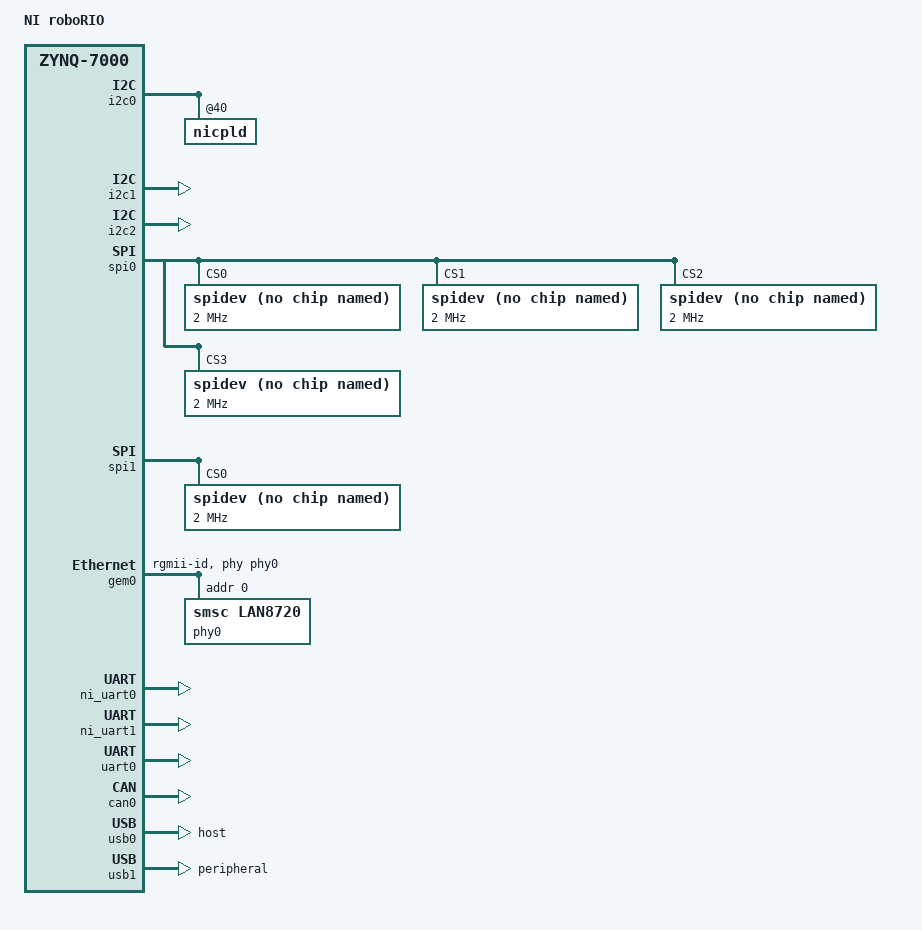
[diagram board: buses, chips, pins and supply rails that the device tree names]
/dts-v1/;
/include/ "ni-zynq.dtsi"

/* NIDEVCODE 76F2 */

/ {
	model = "NI roboRIO";
	compatible = "ni,zynq", "xlnx,zynq-7000";

	aliases {
		spi0 = &spi0;
		spi1 = &spi1;
	};

	amba@0 {
		adc: adc@f8007100 {
			xlnx,channels {
				#address-cells = <1>;
				#size-cells = <0>;
				/* Channel 0 maps to VPVN */
				channel@0 {
					reg = <0>;
					xlnx,extend-name = "vin_v";
				};
				/* Channel 1 maps to VAUX0 */
				channel@1 {
					reg = <1>;
					xlnx,extend-name = "vin_c";
				};
				/* Channel 2 maps to VAUX1 */
				channel@2 {
					reg = <2>;
					xlnx,extend-name = "user5v_v";
				};
				/* Channel 3 maps to VAUX2 */
				channel@3 {
					reg = <3>;
					xlnx,extend-name = "user5v_c";
				};
				/* Channel 4 maps to VAUX3 */
				channel@4 {
					reg = <4>;
					xlnx,extend-name = "user3v3_v";
				};
				/* Channel 5 maps to VAUX4 */
				channel@5 {
					reg = <5>;
					xlnx,extend-name = "user3v3_c";
				};
				/* Channel 9 maps to VAUX8 */
				channel@9 {
					reg = <9>;
					xlnx,extend-name = "user6v_c";
				};
				/* Channel 10 maps to VAUX9 */
				channel@10 {
					reg = <10>;
					xlnx,extend-name = "bist_ao_v";
				};
				/* Channel 11 maps to VAUX10 */
				channel@11 {
					reg = <11>;
					xlnx,extend-name = "bist_dio_v";
				};
				/* Channel 12 maps to VAUX11 */
				channel@12 {
					reg = <12>;
					xlnx,extend-name = "user6v_v";
				};
			};
		};

		i2c0: i2c@e0004000 {
			nicpld@40 {
				watchdogs {
					boot-watchdog {
						interrupt-parent = <&gpio>;
						interrupts = <24 2 /* IRQ_TYPE_EDGE_FALLING */>;
					};
				};

				leds {
					status-1 {
						label = "nilrt:status:yellow";
						max-brightness = <0xFFFF>;
					};
				};
			};
		};

		i2c1: i2c@e0005000 {
			status = "okay";
		};

		i2c2: i2c@81000000 {
			status = "okay";
		};

		spi0: spi@e0006000 {
			status = "okay";
			num-cs = <7>;
			is-decoded-cs = <1>;
			speed-hz = <200000000>;

			spidev@0 {
                                compatible = "spidev";
                                spi-max-frequency = <2000000>;
                                reg = <0>;
			};
			spidev@1 {
                                compatible = "spidev";
                                spi-max-frequency = <2000000>;
                                reg = <1>;
			};
			spidev@2 {
                                compatible = "spidev";
                                spi-max-frequency = <2000000>;
                                reg = <2>;
			};
			spidev@3 {
                                compatible = "spidev";
                                spi-max-frequency = <2000000>;
                                reg = <3>;
			};
		};

		spi1: spi@e0007000 {
			status = "okay";
			num-cs = <3>;
			is-decoded-cs = <0>;
			speed-hz = <200000000>;

			spidev@0 {
                                compatible = "spidev";
                                spi-max-frequency = <2000000>;
                                reg = <0>;
			};
		};
	};
};

&gem0 {
	status = "okay";
	phy-handle = <&phy0>;
	phy-mode = "rgmii-id";
	emio-speed-gpios = <&gpio 54 0>,
			   <0>;
	#address-cells = <0x1>;
	#size-cells = <0x0>;

	phy0: phy@0 {
		compatible = "smsc,lan8720";
		device_type = "ethernet-phy";
		reg = <0x0>;
		/* Interrupt pin is connected from PL pin to FPGA IRQ 3 */
		interrupts = <0 32 4>;
	};
};

&ni_uart0 {
	status = "okay";
	transceiver = "RS-232";
};

&ni_uart1 {
	status = "okay";
	transceiver = "RS-232";
};

&uart0 {
	status = "okay";
};

&can0 {
	status = "okay";
};

&usb0 {
	status = "okay";
	dr_mode = "host";
};

&usb1 {
	status = "okay";
	dr_mode = "peripheral";
};

&clkc {
	/* Enable fclk1 for serial. */
	fclk-enable = <0x2>;
};
